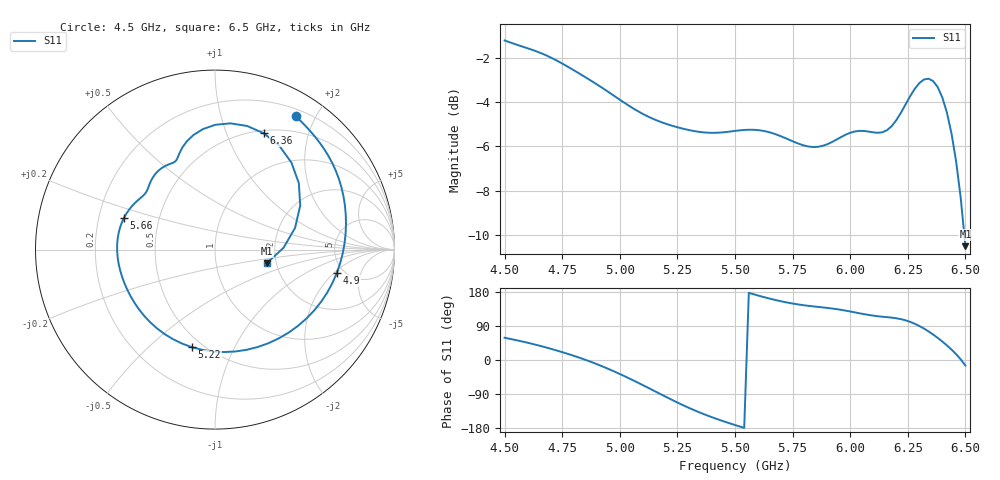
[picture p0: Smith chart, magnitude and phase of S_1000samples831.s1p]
! TOUCHSTONE file generated by CST MICROWAVE STUDIO
! Date and time: Sat Oct 29 13:09:45 2022
! Project name: L.cst
! Parameters = {Di=1.27; Epsilon_r=1.56; InnerDiameter=1.27; Length=2; Lf=10; Lg=60; OuterConductorThickness=0.2921; OuterDiameter=3.6; Wf=3; Wp=41.2; de=1.5; df=6.8; g=0.8; gx=3.29915; gy=0.580979; h=2.34; hf=1.524; px=12.1873; py=10.9702; w=9.7; wx=8.88815; wy=10.3892}
! Header version: 2018
! Port assignment regex: !\s*Touchstone port\s*([0-9]+)\s*=\s*(CST MWS port|CST DS port)\s*([0-9]+|Zmin|Zmax)\s*\(\"(.*)\"\)(\s*mode\s*([0-9]+))?.*
! Touchstone port assignment:
! Touchstone port 1 = CST MWS port 1 ("")
# GHz S DB R 50
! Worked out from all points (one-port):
!   101 points, 4.5 GHz to 6.5 GHz, reference 50 ohm
!   lowest |S11| = -10.5 dB at 6.5 GHz (marker M1), VSWR 1.85, Z = 88.9 - j14.8 ohm
!   |S11| at or under -10 dB: 6.495255 GHz to end of sweep
!   S11 on the Smith chart (normalised r, x): 4.5 GHz: 0.29, +1.74; 4.9 GHz: 4.35, -2.17; 5.22 GHz: 0.44, -0.69; 5.66 GHz: 0.31, +0.16; 6.36 GHz: 0.53, +1.36; 6.5 GHz: 1.78, -0.30
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4.5  -1.23 58.7
4.64  -1.73 39.5
4.76  -2.33 18.9
4.84  -2.82 2.8
4.9  -3.21 -10.9
5  -3.90 -36.9
5.06  -4.31 -54.3
5.12  -4.65 -72.4
5.16  -4.83 -84.8
5.22  -5.05 -103.3
5.26  -5.17 -115.1
5.36  -5.37 -141.8
5.5  -5.31 -171.6
5.58  -5.26 173.7
5.66  -5.40 160.6
5.76  -5.82 148.0
5.86  -6.03 140.2
6  -5.40 128.0
6.1  -5.38 117.1
6.18  -5.10 111.8
6.22  -4.49 107.8
6.26  -3.75 100.7
6.32  -2.99 83.0
6.36  -3.06 67.2
6.4  -3.81 48.7
6.44  -5.44 27.3
6.46  -6.70 15.2
6.5  -10.51 -14.7
